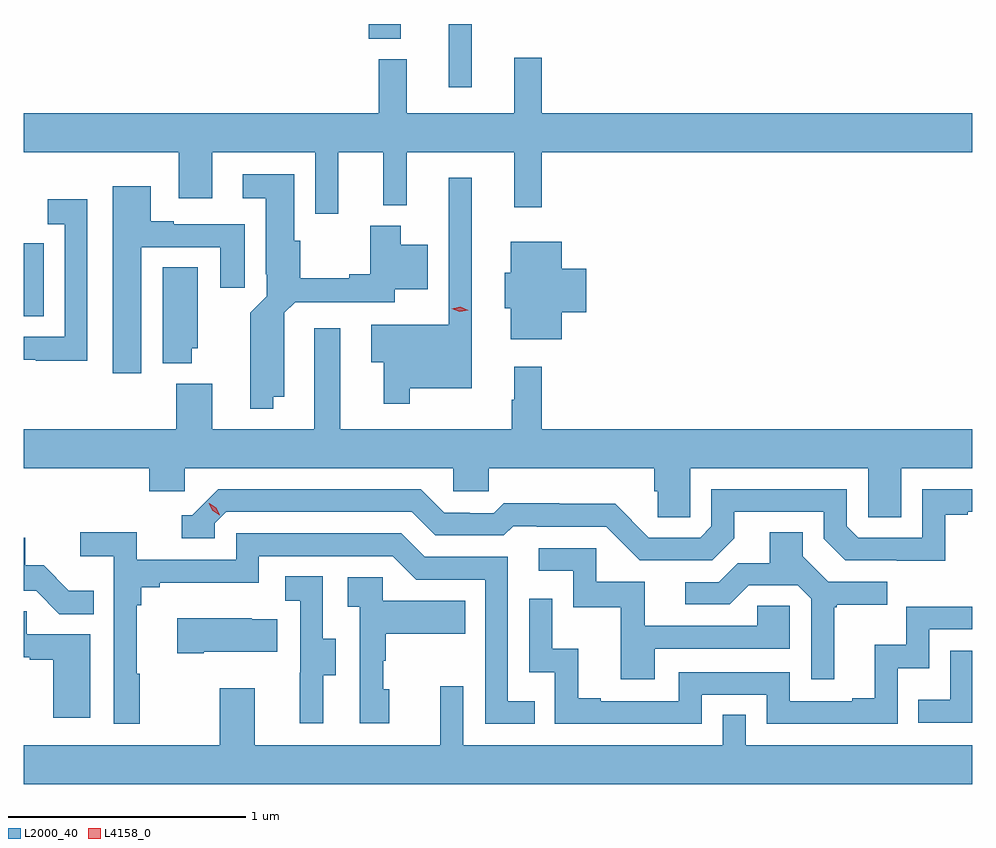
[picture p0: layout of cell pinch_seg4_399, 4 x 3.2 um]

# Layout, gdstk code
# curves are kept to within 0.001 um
import gdstk
lib = gdstk.Library(unit=1e-6, precision=1e-09)
def R(c, l, rs):  # rectangles x0, y0, x1, y1
    for r in rs: c.add(gdstk.rectangle(r[:2], r[2:], *l))
def P(c, l, *ps):  # polygons
    for p in ps: c.add(gdstk.Polygon(p, *l))
L2000_40 = (2000, 40)
L4158_0 = (4158, 0)

pinch_seg4_399 = lib.new_cell('pinch_seg4_399')
R(pinch_seg4_399, L2000_40, [(973.744,789.468,973.828,789.775), (975.537,790.434,975.634,790.7), (975.2,790.637,975.334,790.7)])
P(pinch_seg4_399, L2000_40, [(975.241,790.324),(973.744,790.324),(973.744,790.16),(974.399,790.16),(974.399,789.966),(974.539,789.966),(974.539,790.16),(974.973,790.16),(974.973,789.9),(975.071,789.9),(975.071,790.16),(975.26,790.16),(975.26,789.935),(975.359,789.935),(975.359,790.16),(975.812,790.16),(975.812,789.927),(975.929,789.927),(975.929,790.16),(977.744,790.16),(977.744,790.324),(975.929,790.324),(975.929,790.558),(975.812,790.558),(975.812,790.324),(975.359,790.324),(975.359,790.552),(975.241,790.552)],
  [(974.797,789.128),(974.842,789.128),(974.843,789.482),(974.889,789.528),(975.309,789.528),(975.309,789.581),(975.448,789.581),(975.448,789.769),(975.334,789.769),(975.334,789.85),(975.205,789.85),(975.205,789.644),(975.116,789.644),(975.116,789.629),(974.91,789.629),(974.91,789.786),(974.884,789.786),(974.884,790.066),(974.667,790.066),(974.667,789.965),(974.765,789.965),(974.765,789.646),(974.769,789.646),(974.769,789.552),(974.699,789.482),(974.7,789.077),(974.797,789.077)],
  [(975.373,789.164),(975.634,789.164),(975.634,790.051),(975.537,790.051),(975.537,789.433),(975.21,789.433),(975.21,789.275),(975.263,789.275),(975.263,789.099),(975.373,789.099)],
  [(974.239,789.759),(974.573,789.759),(974.573,789.588),(974.677,789.588),(974.677,789.855),(974.377,789.855),(974.377,789.868),(974.281,789.868),(974.281,790.015),(974.12,790.015),(974.12,789.228),(974.239,789.228)],
  [(974.013,789.961),(973.845,789.961),(973.845,789.855),(973.917,789.855),(973.917,789.381),(973.744,789.381),(973.744,789.285),(973.795,789.285),(973.795,789.28),(974.013,789.28)],
  [(976.012,789.485),(976.117,789.485),(976.117,789.668),(976.012,789.668),(976.012,789.781),(975.797,789.781),(975.797,789.651),(975.773,789.651),(975.773,789.501),(975.797,789.501),(975.797,789.371),(976.012,789.371)],
  [(974.452,789.333),(974.479,789.333),(974.479,789.674),(974.33,789.674),(974.33,789.269),(974.452,789.269)],
  [(976.554,788.828),(977.304,788.828),(977.304,788.62),(977.443,788.62),(977.443,788.828),(977.744,788.828),(977.744,788.992),(975.929,788.992),(975.929,789.256),(975.812,789.256),(975.812,789.116),(975.801,789.116),(975.801,788.992),(975.079,788.992),(975.079,789.418),(974.969,789.418),(974.969,788.992),(974.539,788.992),(974.539,789.184),(974.387,789.184),(974.387,788.992),(973.744,788.992),(973.744,788.828),(974.273,788.828),(974.273,788.73),(974.424,788.73),(974.424,788.828),(975.555,788.828),(975.555,788.73),(975.705,788.73),(975.705,788.828),(976.403,788.828),(976.403,788.73),(976.417,788.73),(976.417,788.62),(976.554,788.62)],
  [(977.629,788.631),(977.725,788.631),(977.725,788.643),(977.744,788.643),(977.744,788.739),(977.532,788.739),(977.532,788.535),(977.262,788.535),(977.214,788.583),(977.214,788.739),(976.644,788.739),(976.644,788.583),(976.596,788.535),(976.38,788.535),(976.238,788.677),(976.002,788.677),(976.002,788.68),(975.769,788.68),(975.727,788.637),(975.624,788.637),(975.624,788.64),(975.517,788.64),(975.418,788.739),(974.565,788.739),(974.454,788.628),(974.411,788.628),(974.411,788.532),(974.55,788.532),(974.55,788.595),(974.598,788.643),(975.381,788.643),(975.48,788.544),(975.769,788.544),(975.808,788.583),(975.907,788.583),(975.907,788.58),(976.2,788.58),(976.341,788.439),(976.647,788.439),(976.741,788.533),(976.741,788.643),(977.118,788.643),(977.118,788.529),(977.208,788.439),(977.629,788.438)],
  [(977.161,788.241),(977.173,788.241),(977.173,788.252),(977.386,788.252),(977.386,788.349),(977.136,788.349),(977.029,788.456),(977.029,788.558),(976.889,788.558),(976.889,788.426),(976.754,788.426),(976.674,788.346),(976.533,788.346),(976.533,788.253),(976.72,788.253),(976.801,788.334),(977.007,788.334),(977.064,788.277),(977.064,787.938),(977.161,787.938)],
  [(974.233,787.961),(974.221,787.961),(974.221,788.249),(974.24,788.249),(974.24,788.326),(974.317,788.326),(974.317,788.345),(974.736,788.345),(974.736,788.457),(975.3,788.457),(975.399,788.358),(975.69,788.358),(975.69,787.749),(975.899,787.749),(975.899,787.845),(975.786,787.845),(975.786,788.454),(975.436,788.454),(975.337,788.553),(974.64,788.553),(974.64,788.442),(974.222,788.442),(974.222,788.558),(973.983,788.558),(973.983,788.456),(974.124,788.456),(974.124,787.749),(974.233,787.749)],
  [(974.039,788.311),(973.935,788.311),(973.828,788.418),(973.752,788.418),(973.752,788.535),(973.744,788.535),(973.744,788.31),(973.797,788.31),(973.895,788.212),(974.039,788.212)],
  [(976.405,788.067),(976.974,788.067),(976.974,788.247),(976.837,788.247),(976.837,788.163),(976.363,788.163),(976.363,788.349),(976.158,788.349),(976.158,788.49),(975.915,788.49),(975.915,788.394),(976.062,788.394),(976.062,788.241),(976.261,788.241),(976.261,787.938),(976.405,787.938)],
  [(975.007,787.954),(975.061,787.954),(975.061,788.109),(975.006,788.109),(975.006,788.372),(974.847,788.372),(974.847,788.269),(974.91,788.269),(974.91,787.965),(974.909,787.965),(974.909,787.752),(975.007,787.752)],
  [(975.286,787.896),(975.261,787.896),(975.261,788.015),(975.271,788.015),(975.271,788.129),(975.605,788.129),(975.605,788.269),(975.258,788.269),(975.258,788.367),(975.111,788.367),(975.111,788.243),(975.162,788.243),(975.162,787.752),(975.286,787.752)],
  [(976.602,787.872),(976.878,787.872),(976.878,787.749),(977.43,787.749),(977.43,787.985),(977.562,787.985),(977.562,788.148),(977.744,788.148),(977.744,788.244),(977.466,788.244),(977.466,788.083),(977.333,788.083),(977.333,787.858),(977.237,787.858),(977.237,787.845),(976.974,787.845),(976.974,787.968),(976.506,787.968),(976.506,787.845),(976.177,787.845),(976.177,787.858),(976.082,787.858),(976.082,788.066),(975.972,788.066),(975.972,788.278),(975.876,788.278),(975.876,787.968),(975.984,787.968),(975.984,787.749),(976.602,787.749)],
  [(974.026,788.127),(973.757,788.127),(973.757,788.225),(973.744,788.225),(973.744,788.031),(973.769,788.031),(973.769,788.019),(973.868,788.019),(973.868,787.776),(974.026,787.776)],
  [(974.503,788.054),(974.813,788.054),(974.813,788.191),(974.705,788.191),(974.705,788.194),(974.391,788.194),(974.391,788.047),(974.503,788.047)],
  [(977.744,788.058),(977.65,788.058),(977.65,787.852),(977.515,787.852),(977.515,787.755),(977.744,787.755)],
  [(977.744,787.66),(976.788,787.66),(976.788,787.787),(976.692,787.787),(976.692,787.66),(975.597,787.66),(975.597,787.909),(975.5,787.909),(975.5,787.66),(974.719,787.66),(974.719,787.9),(974.572,787.9),(974.572,787.66),(973.744,787.66),(973.744,787.496),(977.744,787.496)])
P(pinch_seg4_399, L4158_0, [(974.572,788.628),(974.541,788.647),(974.525,788.679),(974.525,788.68),(974.526,788.68),(974.556,788.66),(974.572,788.628),(974.572,788.628)],
  [(975.582,789.487),(975.548,789.499),(975.548,789.499),(975.548,789.5),(975.584,789.507),(975.618,789.494),(975.618,789.494),(975.618,789.494)])

lib.write_gds('pinch_seg4_399.gds')
